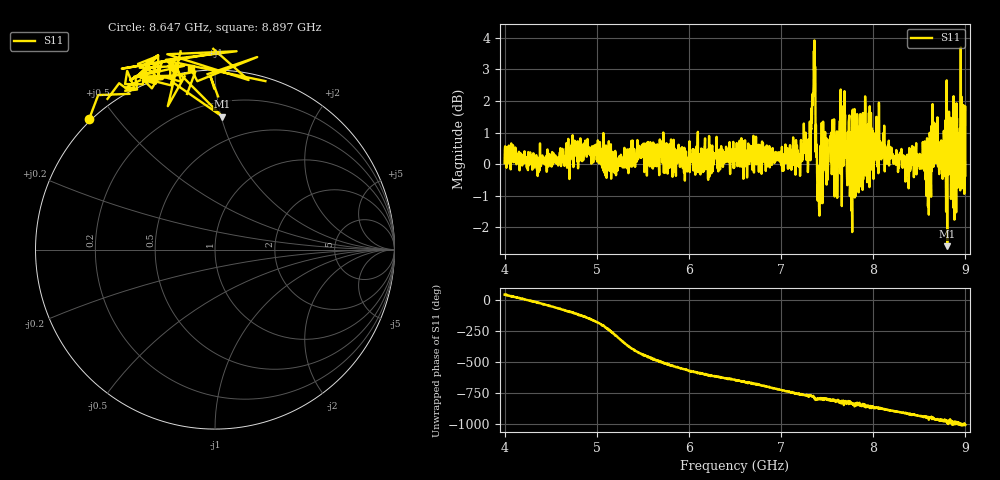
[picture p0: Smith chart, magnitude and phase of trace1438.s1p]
! Created with skrf 1.8.0 (http://scikit-rf.org).
# Hz S RI R 50.0
!freq ReS11 ImS11
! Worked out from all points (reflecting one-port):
!   1601 points, 4 GHz to 9 GHz, reference 50 ohm
!   lowest |S11| = -2.6 dB at 8.803 GHz (marker M1), VSWR 6.75, Z = 15.3 + j50.5 ohm
!   phase of S11 starts at 40 deg and turns -1048 deg over the sweep
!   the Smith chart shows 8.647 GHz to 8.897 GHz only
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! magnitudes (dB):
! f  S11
! 4 GHz  0.0
! 4.625 GHz  0.2
! 5.25 GHz  0.1
! 5.875 GHz  0.0
! 6.5 GHz  0.5
! 7.125 GHz  0.4
! 7.294 GHz  0.0
! 7.347 GHz  2.1
! 7.366 GHz  2.2
! 7.397 GHz  -1.2
! 7.409 GHz  -0.5
! 7.55 GHz  -0.3
! 7.606 GHz  1.0
! 7.669 GHz  1.0
! 7.75 GHz  -0.7
! 7.769 GHz  -1.1
! 7.8 GHz  -1.1
! 7.866 GHz  0.3
! 7.928 GHz  0.5
! 8.375 GHz  -0.3
! 8.541 GHz  0.5
! 8.584 GHz  0.8
! 8.656 GHz  1.3
! 8.738 GHz  0.8
! 8.803 GHz  -2.6
! 8.906 GHz  1.0
! 8.959 GHz  2.1
! 9 GHz  -0.4
